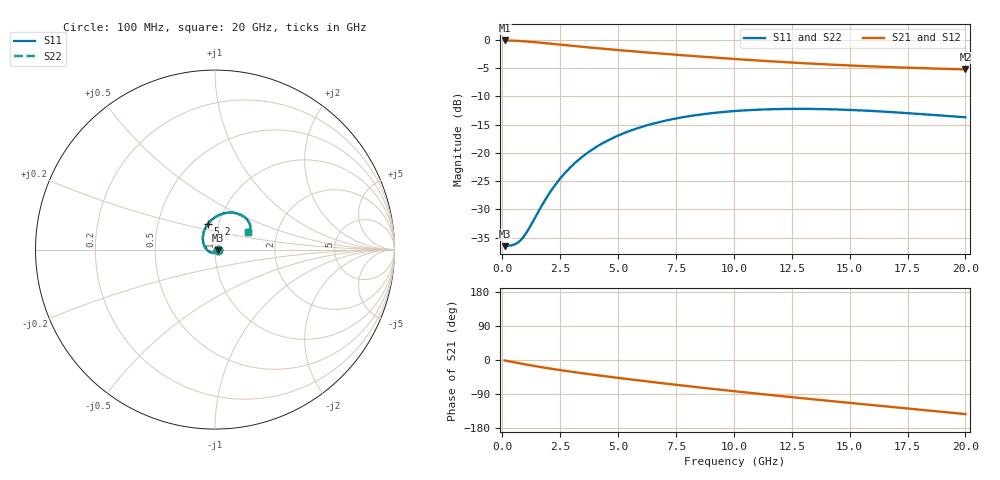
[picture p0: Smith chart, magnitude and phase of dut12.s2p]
! Created with skrf 1.9.0 (http://scikit-rf.org).
# GHz S RI R 50.0
!freq ReS11 ImS11 ReS21 ImS21 ReS12 ImS12 ReS22 ImS22
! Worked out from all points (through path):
!   200 points, 100 MHz to 20 GHz, reference 50 ohm
!   highest |S21| = -0.13 dB at 100 MHz (marker M1); lowest = -5.2 dB at 20 GHz (marker M2)
!   group delay of S21, straight-line fit = 18.9 ps
!   lowest |S11| = -36.5 dB at 100 MHz (marker M3), VSWR 1.03, Z = 51.5 - j0.267 ohm
!   |S11| at or under -10 dB: start of sweep to end of sweep
!   |S22| runs from -36.5 to -12.2 dB; largest |S21 - S12| = 2.4e-15
!   S11 on the Smith chart (normalised r, x): 100 MHz: 1.03, -0.01; 5.2 GHz: 0.89, +0.26; 20 GHz: 1.41, +0.29
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0.1  0.0148 -0.00259  0.9846 -0.0205  0.9846 -0.0205  0.0148 -0.00259
0.4  0.0116 -0.00989  0.9782 -0.0815  0.9782 -0.0815  0.0116 -0.00989
0.6  0.0074 -0.0139  0.9702 -0.1208  0.9702 -0.1208  0.0074 -0.0139
0.9  -0.00152 -0.0179  0.9533 -0.177  0.9533 -0.177  -0.00152 -0.0179
1.2  -0.0125 -0.0185  0.9315 -0.2291  0.9315 -0.2291  -0.0125 -0.0185
1.9  -0.0394 -0.00618  0.8686 -0.3337  0.8686 -0.3337  -0.0394 -0.00618
2.3  -0.052 0.00797  0.8286 -0.3834  0.8286 -0.3834  -0.052 0.00797
2.6  -0.0592 0.0209  0.7979 -0.4165  0.7979 -0.4165  -0.0592 0.0209
2.9  -0.0642 0.0351  0.7668 -0.4465  0.7668 -0.4465  -0.0642 0.0351
3.5  -0.0677 0.0652  0.7046 -0.4988  0.7046 -0.4988  -0.0677 0.0652
4.3  -0.0604 0.1044  0.622 -0.5552  0.622 -0.5552  -0.0604 0.1044
5.2  -0.0403 0.1422  0.5304 -0.6038  0.5304 -0.6038  -0.0403 0.1422
6  -0.0158 0.1684  0.4503 -0.6355  0.4503 -0.6355  -0.0158 0.1684
6.8  0.0119 0.1872  0.3723 -0.6576  0.3723 -0.6576  0.0119 0.1872
8.4  0.0682 0.2049  0.2246 -0.6771  0.2246 -0.6771  0.0682 0.2049
10.1  0.1204 0.2016  0.083 -0.6689  0.083 -0.6689  0.1204 0.2016
11.7  0.1573 0.1857  -0.0347 -0.6413  -0.0347 -0.6413  0.1573 0.1857
13.4  0.1825 0.1627  -0.1438 -0.5969  -0.1438 -0.5969  0.1825 0.1627
15  0.1942 0.1403  -0.2328 -0.5444  -0.2328 -0.5444  0.1942 0.1403
16.7  0.1963 0.1199  -0.3141 -0.4794  -0.3141 -0.4794  0.1963 0.1199
18.4  0.1906 0.1055  -0.3826 -0.4063  -0.3826 -0.4063  0.1906 0.1055
20  0.1812 0.0989  -0.4352 -0.3307  -0.4352 -0.3307  0.1812 0.0989
